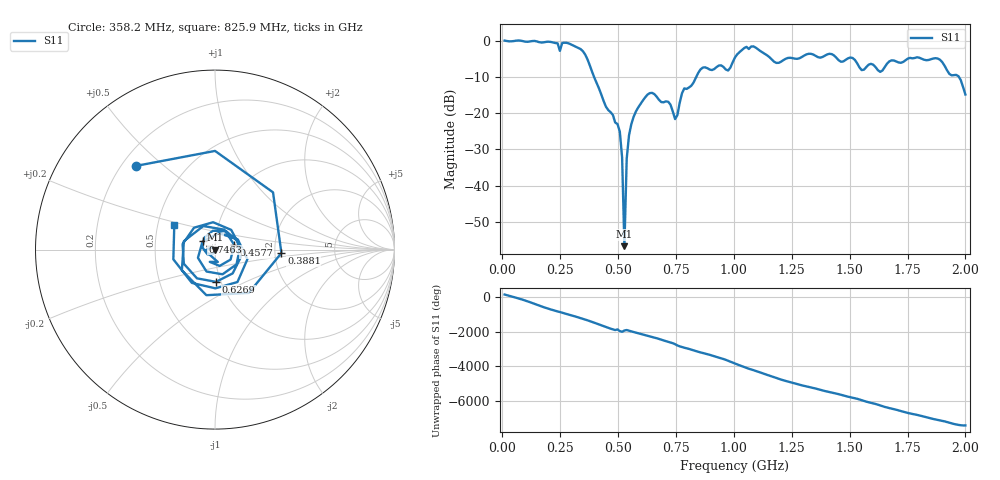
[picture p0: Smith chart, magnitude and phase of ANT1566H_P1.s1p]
!Created with skrf (http://scikit-rf.org).
# Hz S RI R 50.0
!freq ReS11 ImS11
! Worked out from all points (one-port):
!   201 points, 10 MHz to 2 GHz, reference 50 ohm
!   lowest |S11| = -56.7 dB at 527.4 MHz (marker M1), VSWR 1.00, Z = 49.9 - j0.0957 ohm
!   |S11| at or under -10 dB: 396.4 MHz to 837.6 MHz (441.3 MHz wide, 71.5 % of centre); 1.972 GHz to end of sweep
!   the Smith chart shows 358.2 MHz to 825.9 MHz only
!   S11 on the Smith chart (normalised r, x): 358.2 MHz: 0.26, +0.41; 388.1 MHz: 2.17, -0.10; 457.8 MHz: 1.24, +0.07; 626.9 MHz: 0.95, -0.35; 746.3 MHz: 0.87, +0.08; 825.9 MHz: 0.61, +0.18
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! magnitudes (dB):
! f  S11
! 10 MHz  0.0
! 258.8 MHz  -0.6
! 358.2 MHz  -3.9
! 388.1 MHz  -8.6
! 457.8 MHz  -19.2
! 507.5 MHz  -25.1
! 517.5 MHz  -32.2
! 527.4 MHz  -56.7
! 537.4 MHz  -32.5
! 547.3 MHz  -26.1
! 626.9 MHz  -14.9
! 716.5 MHz  -16.8
! 746.3 MHz  -21.6
! 756.2 MHz  -20.5
! 786.1 MHz  -13.2
! 825.9 MHz  -11.6
! 865.7 MHz  -7.4
! 975.1 MHz  -8.2
! 1.005 GHz  -4.6
! 1.085 GHz  -1.6
! 1.184 GHz  -6.1
! 1.254 GHz  -4.8
! 1.502 GHz  -4.7
! 1.632 GHz  -8.6
! 1.751 GHz  -5.0
! 1.891 GHz  -5.3
! 1.97 GHz  -9.8
! 2 GHz  -14.9
